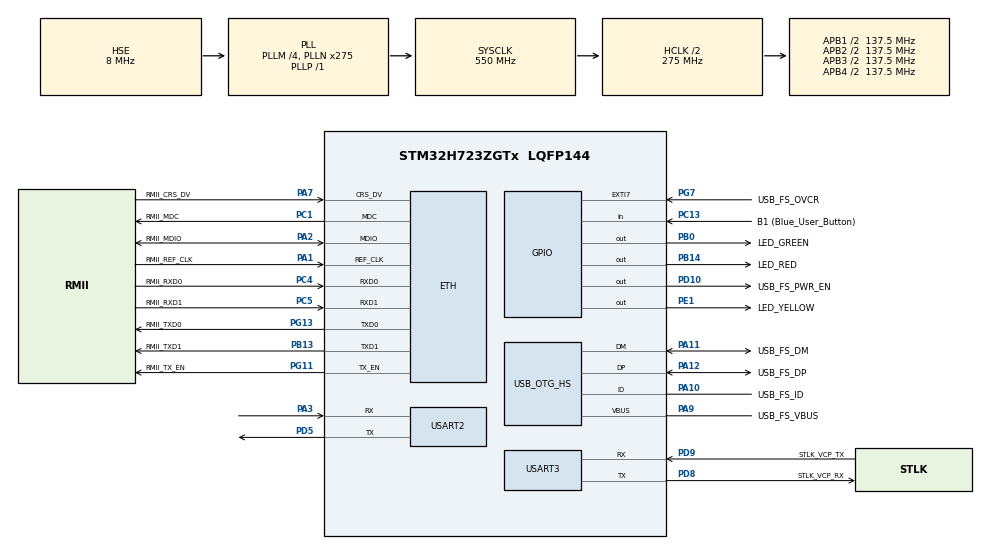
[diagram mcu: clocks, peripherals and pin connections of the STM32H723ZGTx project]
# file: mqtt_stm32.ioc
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ETH.MediaInterface=HAL_ETH_RMII_MODE
Mcu.Family=STM32H7
Mcu.Name=STM32H723ZGTx
Mcu.Package=LQFP144
NVIC.PriorityGroup=NVIC_PRIORITYGROUP_4
NVIC.USART2_IRQn=true\:0\:0\:false\:false\:true\:true\:true\:true
PA1.GPIO_Label=RMII_REF_CLK
PA1.Mode=RMII
PA1.Signal=ETH_REF_CLK
PA10.GPIO_Label=USB_FS_ID
PA10.Mode=OTG/Dual-Role-Device-FS
PA10.Signal=USB_OTG_HS_ID
PA11.GPIO_Label=USB_FS_DM
PA11.Mode=OTG/Dual-Role-Device-FS
PA11.Signal=USB_OTG_HS_DM
PA12.GPIO_Label=USB_FS_DP
PA12.Mode=OTG/Dual-Role-Device-FS
PA12.Signal=USB_OTG_HS_DP
PA13(JTMS/SWDIO).GPIO_Label=SWDIO
PA13(JTMS/SWDIO).Mode=Trace_Asynchronous_SW
PA13(JTMS/SWDIO).Signal=DEBUG_JTMS-SWDIO
PA14(JTCK/SWCLK).GPIO_Label=SWCLK
PA14(JTCK/SWCLK).Mode=Trace_Asynchronous_SW
PA14(JTCK/SWCLK).Signal=DEBUG_JTCK-SWCLK
PA2.GPIO_Label=RMII_MDIO
PA2.Mode=RMII
PA2.Signal=ETH_MDIO
PA3.Mode=Asynchronous
PA3.Signal=USART2_RX
PA7.GPIO_Label=RMII_CRS_DV
PA7.Mode=RMII
PA7.Signal=ETH_CRS_DV
PA9.GPIO_Label=USB_FS_VBUS
PA9.Mode=Activate_VBUS_FS
PA9.Signal=USB_OTG_HS_VBUS
PB0.GPIO_Label=LED_GREEN
PB0.Signal=GPIO_Output
PB13.GPIO_Label=RMII_TXD1
PB13.Mode=RMII
PB13.Signal=ETH_TXD1
PB14.GPIO_Label=LED_RED
PB14.Signal=GPIO_Output
PB3(JTDO/TRACESWO).GPIO_Label=SWO
PB3(JTDO/TRACESWO).Mode=Trace_Asynchronous_SW
PB3(JTDO/TRACESWO).Signal=DEBUG_JTDO-SWO
PB6.Signal=USART1_TX
PB7.Signal=USART1_RX
PC1.GPIO_Label=RMII_MDC
PC1.Mode=RMII
PC1.Signal=ETH_MDC
PC13.GPIO_Label=B1 (Blue_User_Button)
PC13.Signal=GPIO_Input
PC14-OSC32_IN.Mode=LSE-External-Oscillator
PC14-OSC32_IN.Signal=RCC_OSC32_IN
PC15-OSC32_OUT.Mode=LSE-External-Oscillator
PC15-OSC32_OUT.Signal=RCC_OSC32_OUT
PC4.GPIO_Label=RMII_RXD0
PC4.Mode=RMII
PC4.Signal=ETH_RXD0
PC5.GPIO_Label=RMII_RXD1
PC5.Mode=RMII
PC5.Signal=ETH_RXD1
PD10.GPIO_Label=USB_FS_PWR_EN
PD10.Signal=GPIO_Output
PD5.Mode=Asynchronous
PD5.Signal=USART2_TX
PD8.GPIO_Label=STLK_VCP_RX
PD8.Mode=Asynchronous
PD8.Signal=USART3_TX
PD9.GPIO_Label=STLK_VCP_TX
PD9.Mode=Asynchronous
PD9.Signal=USART3_RX
PE1.GPIO_Label=LED_YELLOW
PE1.Signal=GPIO_Output
PG11.GPIO_Label=RMII_TX_EN
PG11.Mode=RMII
PG11.Signal=ETH_TX_EN
PG13.GPIO_Label=RMII_TXD0
PG13.Mode=RMII
PG13.Signal=ETH_TXD0
PG7.GPIO_Label=USB_FS_OVCR
PG7.Signal=GPXTI7
PH0-OSC_IN.GPIO_Label=MCO
PH0-OSC_IN.Mode=HSE-External-Clock-Source
PH0-OSC_IN.Signal=RCC_OSC_IN
PH1-OSC_OUT.Signal=RCC_OSC_OUT
ProjectManager.HeapSize=0x200
ProjectManager.StackSize=0x400
ProjectManager.TargetToolchain=STM32CubeIDE
RCC.ADCFreq_Value=76000000
RCC.APB1Freq_Value=137500000
RCC.APB2Freq_Value=137500000
RCC.APB3Freq_Value=137500000
RCC.APB4Freq_Value=137500000
RCC.CortexFreq_Value=550000000
RCC.D1PPRE=RCC_APB3_DIV2
RCC.D2PPRE1=RCC_APB1_DIV2
RCC.D2PPRE2=RCC_APB2_DIV2
RCC.D3PPRE=RCC_APB4_DIV2
RCC.DIVM1=4
RCC.DIVM2=1
RCC.DIVN1=275
RCC.DIVN2=19
RCC.DIVP1=1
RCC.DIVQ1=4
RCC.HCLKFreq_Value=275000000
RCC.HPRE=RCC_HCLK_DIV2
RCC.HSE_VALUE=8000000
RCC.PLLFRACN=0
RCC.PLLSourceVirtual=RCC_PLLSOURCE_HSE
RCC.SYSCLKFreq_VALUE=550000000
RCC.SYSCLKSource=RCC_SYSCLKSOURCE_PLLCLK
RCC.USBCLockSelection=RCC_USBCLKSOURCE_HSI48
RCC.USBFreq_Value=48000000
USART2.VirtualMode-Asynchronous=VM_ASYNC
USART3.VirtualMode-Asynchronous=VM_ASYNC
board=NUCLEO-H723ZG

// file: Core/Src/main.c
/* USER CODE BEGIN Header */
/**
  ******************************************************************************
  * @file           : main.c
  * @brief          : Main program body
  ******************************************************************************
  * @attention
  *
  * Copyright (c) 2026 STMicroelectronics.
  * All rights reserved.
  *
  * This software is licensed under terms that can be found in the LICENSE file
  * in the root directory of this software component.
  * If no LICENSE file comes with this software, it is provided AS-IS.
  *
  ******************************************************************************
  */
/* USER CODE END Header */
#include "main.h"
#include "string.h"

#if defined ( __ICCARM__ ) /*!< IAR Compiler */
#pragma location=0x30000000
ETH_DMADescTypeDef  DMARxDscrTab[ETH_RX_DESC_CNT]; /* Ethernet Rx DMA Descriptors */
#pragma location=0x30000200
ETH_DMADescTypeDef  DMATxDscrTab[ETH_TX_DESC_CNT]; /* Ethernet Tx DMA Descriptors */
#pragma location=0x30000260
uint8_t Rx_Buff[ETH_RX_DESC_CNT][ETH_MAX_PACKET_SIZE]; /* Ethernet Receive Buffers */

#elif defined ( __CC_ARM )  /* MDK ARM Compiler */

__attribute__((at(0x30000000))) ETH_DMADescTypeDef  DMARxDscrTab[ETH_RX_DESC_CNT]; /* Ethernet Rx DMA Descriptors */
__attribute__((at(0x30000200))) ETH_DMADescTypeDef  DMATxDscrTab[ETH_TX_DESC_CNT]; /* Ethernet Tx DMA Descriptors */
__attribute__((at(0x30000260))) uint8_t Rx_Buff[ETH_RX_DESC_CNT][ETH_MAX_PACKET_SIZE]; /* Ethernet Receive Buffer */

#elif defined ( __GNUC__ ) /* GNU Compiler */
ETH_DMADescTypeDef DMARxDscrTab[ETH_RX_DESC_CNT] __attribute__((section(".RxDecripSection"))); /* Ethernet Rx DMA Descriptors */
ETH_DMADescTypeDef DMATxDscrTab[ETH_TX_DESC_CNT] __attribute__((section(".TxDecripSection")));   /* Ethernet Tx DMA Descriptors */
uint8_t Rx_Buff[ETH_RX_DESC_CNT][ETH_MAX_PACKET_SIZE] __attribute__((section(".RxArraySection"))); /* Ethernet Receive Buffers */
#endif

ETH_TxPacketConfig TxConfig;

ETH_HandleTypeDef heth;

UART_HandleTypeDef huart2;
UART_HandleTypeDef huart3;

/* USER CODE BEGIN PV */
uint8_t rx_byte;
uint8_t rx_buffer[1024];
uint16_t rx_index = 0;
/* USER CODE END PV */

void SystemClock_Config(void);
static void MX_GPIO_Init(void);
static void MX_ETH_Init(void);
static void MX_USART2_UART_Init(void);
static void MX_USART3_UART_Init(void);
static void MX_USB_OTG_HS_USB_Init(void);

/* USER CODE BEGIN 0 */
void ESP_Send(char *cmd)
{
    HAL_UART_Transmit(&huart2,
                      (uint8_t*)cmd,
                      strlen(cmd),
                      HAL_MAX_DELAY);
}

//void ESP_Print_Response(void)
//{
//    HAL_UART_Transmit(&huart3,
//                      rx_buffer,
//                      strlen((char*)rx_buffer),
//                      HAL_MAX_DELAY);
//}

void ESP_Print_Response(void)
{
    HAL_UART_Transmit(&huart3,
                      rx_buffer,
                      rx_index,
                      HAL_MAX_DELAY);
}

void Clear_Buffer(void)
{
    memset(rx_buffer, 0, sizeof(rx_buffer));
    rx_index = 0;
}
/* USER CODE END 0 */

int main(void)
{

  /* MCU Configuration--------------------------------------------------------*/

  /* Reset of all peripherals, Initializes the Flash interface and the Systick. */
  HAL_Init();

  /* Configure the system clock */
  SystemClock_Config();

  /* Initialize all configured peripherals */
  MX_GPIO_Init();
  MX_ETH_Init();
  MX_USART2_UART_Init();
  MX_USART3_UART_Init();
  MX_USB_OTG_HS_USB_Init();
  /* USER CODE BEGIN 2 */
  HAL_UART_Receive_IT(&huart2,
                      &rx_byte,
                      1);

  HAL_Delay(3000);

  Clear_Buffer();
  ESP_Send("ATE0\r\n");
  HAL_Delay(2000);
  ESP_Print_Response();

  Clear_Buffer();

  ESP_Send("AT\r\n");
  HAL_Delay(2000);
  ESP_Print_Response();

//  ESP_Send("AT+CWMODE=1\r\n");
//  HAL_Delay(2000);
//  ESP_Print_Response();
//
//  //ESP_Send("AT+CWJAP=\"YOUR_WIFI\",\"YOUR_PASSWORD\"\r\n");"moto g85 5G_4516", password = "Moto1234x"')
//  ESP_Send("AT+CWJAP=\"moto g85 5G_451\",\"Moto1234x\"\r\n");
//  HAL_Delay(10000);
//  ESP_Print_Response();
//
//  ESP_Send("AT+CIPSTART=\"TCP\",\"google.com\",80\r\n");
//  HAL_Delay(5000);
//  ESP_Print_Response();
//
//  ESP_Send("AT+CIPSEND=40\r\n");
//  HAL_Delay(2000);
//
//  ESP_Send("GET / HTTP/1.1\r\nHost: google.com\r\n\r\n");
//  HAL_Delay(5000);
//
//  ESP_Print_Response();

//  ESP_Send("AT+MQTTUSERCFG=0,1,\"stm32client\",\"\",\"\",0,0,\"\"\r\n");
//  HAL_Delay(3000);
//  ESP_Print_Response();

//  ESP_Send("AT+MQTTCONN=0,\"broker.hivemq.com\",1883,0\r\n");
//  HAL_Delay(5000);
//  ESP_Print_Response();
//
////  ESP_Send("AT+MQTTSUB=0,\"test/topic\",0\r\n");
////  HAL_Delay(3000);
////  ESP_Print_Response();
//
//  ESP_Send("AT+MQTTPUB=0,\"test/topic\",\"Hello_From_STM32\",0,0\r\n");
//  HAL_Delay(3000);
//  ESP_Print_Response();

  Clear_Buffer();
  ESP_Send("AT+TCPSTART=google.com,80\r\n");
  HAL_Delay(5000);
  ESP_Print_Response();

  Clear_Buffer();
  ESP_Send("AT+TCPSEND=GET / HTTP/1.1\r\nHost: google.com\r\n\r\n");
  HAL_Delay(3000);
  ESP_Print_Response();

  Clear_Buffer();
  ESP_Send("AT+TCPREAD\r\n");
  HAL_Delay(5000);
  ESP_Print_Response();

  Clear_Buffer();
  ESP_Send("AT+MQTTCONNECT\r\n");
  HAL_Delay(5000);
  ESP_Print_Response();

  Clear_Buffer();
  ESP_Send("AT+MQTTPUB=Hello_From_STM32\r\n");
  HAL_Delay(3000);
  ESP_Print_Response();

  /* USER CODE END 2 */

  /* Infinite loop */
  while (1)
  {

  }
}

void SystemClock_Config(void)
{
  RCC_OscInitTypeDef RCC_OscInitStruct = {0};
  RCC_ClkInitTypeDef RCC_ClkInitStruct = {0};

  /** Supply configuration update enable
  */
  HAL_PWREx_ConfigSupply(PWR_LDO_SUPPLY);

  /** Configure the main internal regulator output voltage
  */
  __HAL_PWR_VOLTAGESCALING_CONFIG(PWR_REGULATOR_VOLTAGE_SCALE0);

  while(!__HAL_PWR_GET_FLAG(PWR_FLAG_VOSRDY)) {}

  /** Initializes the RCC Oscillators according to the specified parameters
  * in the RCC_OscInitTypeDef structure.
  */
  RCC_OscInitStruct.OscillatorType = RCC_OSCILLATORTYPE_HSI48|RCC_OSCILLATORTYPE_HSE;
  RCC_OscInitStruct.HSEState = RCC_HSE_BYPASS;
  RCC_OscInitStruct.HSI48State = RCC_HSI48_ON;
  RCC_OscInitStruct.PLL.PLLState = RCC_PLL_ON;
  RCC_OscInitStruct.PLL.PLLSource = RCC_PLLSOURCE_HSE;
  RCC_OscInitStruct.PLL.PLLM = 4;
  RCC_OscInitStruct.PLL.PLLN = 275;
  RCC_OscInitStruct.PLL.PLLP = 1;
  RCC_OscInitStruct.PLL.PLLQ = 4;
  RCC_OscInitStruct.PLL.PLLR = 2;
  RCC_OscInitStruct.PLL.PLLRGE = RCC_PLL1VCIRANGE_1;
  RCC_OscInitStruct.PLL.PLLVCOSEL = RCC_PLL1VCOWIDE;
  RCC_OscInitStruct.PLL.PLLFRACN = 0;
  if (HAL_RCC_OscConfig(&RCC_OscInitStruct) != HAL_OK)
  {
    Error_Handler();
  }

  /** Initializes the CPU, AHB and APB buses clocks
  */
  RCC_ClkInitStruct.ClockType = RCC_CLOCKTYPE_HCLK|RCC_CLOCKTYPE_SYSCLK
                              |RCC_CLOCKTYPE_PCLK1|RCC_CLOCKTYPE_PCLK2
                              |RCC_CLOCKTYPE_D3PCLK1|RCC_CLOCKTYPE_D1PCLK1;
  RCC_ClkInitStruct.SYSCLKSource = RCC_SYSCLKSOURCE_PLLCLK;
  RCC_ClkInitStruct.SYSCLKDivider = RCC_SYSCLK_DIV1;
  RCC_ClkInitStruct.AHBCLKDivider = RCC_HCLK_DIV2;
  RCC_ClkInitStruct.APB3CLKDivider = RCC_APB3_DIV2;
  RCC_ClkInitStruct.APB1CLKDivider = RCC_APB1_DIV2;
  RCC_ClkInitStruct.APB2CLKDivider = RCC_APB2_DIV2;
  RCC_ClkInitStruct.APB4CLKDivider = RCC_APB4_DIV2;

  if (HAL_RCC_ClockConfig(&RCC_ClkInitStruct, FLASH_LATENCY_3) != HAL_OK)
  {
    Error_Handler();
  }
}

static void MX_ETH_Init(void)
{

   static uint8_t MACAddr[6];

  heth.Instance = ETH;
  MACAddr[0] = 0x00;
  MACAddr[1] = 0x80;
  MACAddr[2] = 0xE1;
  MACAddr[3] = 0x00;
  MACAddr[4] = 0x00;
  MACAddr[5] = 0x00;
  heth.Init.MACAddr = &MACAddr[0];
  heth.Init.MediaInterface = HAL_ETH_RMII_MODE;
  heth.Init.TxDesc = DMATxDscrTab;
  heth.Init.RxDesc = DMARxDscrTab;
  heth.Init.RxBuffLen = 1524;

  if (HAL_ETH_Init(&heth) != HAL_OK)
  {
    Error_Handler();
  }

  memset(&TxConfig, 0 , sizeof(ETH_TxPacketConfig));
  TxConfig.Attributes = ETH_TX_PACKETS_FEATURES_CSUM | ETH_TX_PACKETS_FEATURES_CRCPAD;
  TxConfig.ChecksumCtrl = ETH_CHECKSUM_IPHDR_PAYLOAD_INSERT_PHDR_CALC;
  TxConfig.CRCPadCtrl = ETH_CRC_PAD_INSERT;

}

static void MX_USART2_UART_Init(void)
{

  huart2.Instance = USART2;
  huart2.Init.BaudRate = 115200;
  huart2.Init.WordLength = UART_WORDLENGTH_8B;
  huart2.Init.StopBits = UART_STOPBITS_1;
  huart2.Init.Parity = UART_PARITY_NONE;
  huart2.Init.Mode = UART_MODE_TX_RX;
  huart2.Init.HwFlowCtl = UART_HWCONTROL_NONE;
  huart2.Init.OverSampling = UART_OVERSAMPLING_16;
  huart2.Init.OneBitSampling = UART_ONE_BIT_SAMPLE_DISABLE;
  huart2.Init.ClockPrescaler = UART_PRESCALER_DIV1;
  huart2.AdvancedInit.AdvFeatureInit = UART_ADVFEATURE_NO_INIT;
  if (HAL_UART_Init(&huart2) != HAL_OK)
  {
    Error_Handler();
  }
  if (HAL_UARTEx_SetTxFifoThreshold(&huart2, UART_TXFIFO_THRESHOLD_1_8) != HAL_OK)
  {
    Error_Handler();
  }
  if (HAL_UARTEx_SetRxFifoThreshold(&huart2, UART_RXFIFO_THRESHOLD_1_8) != HAL_OK)
  {
    Error_Handler();
  }
  if (HAL_UARTEx_DisableFifoMode(&huart2) != HAL_OK)
  {
    Error_Handler();
  }

}

static void MX_USART3_UART_Init(void)
{

  huart3.Instance = USART3;
  huart3.Init.BaudRate = 115200;
  huart3.Init.WordLength = UART_WORDLENGTH_8B;
  huart3.Init.StopBits = UART_STOPBITS_1;
  huart3.Init.Parity = UART_PARITY_NONE;
  huart3.Init.Mode = UART_MODE_TX_RX;
  huart3.Init.HwFlowCtl = UART_HWCONTROL_NONE;
  huart3.Init.OverSampling = UART_OVERSAMPLING_16;
  huart3.Init.OneBitSampling = UART_ONE_BIT_SAMPLE_DISABLE;
  huart3.Init.ClockPrescaler = UART_PRESCALER_DIV1;
  huart3.AdvancedInit.AdvFeatureInit = UART_ADVFEATURE_NO_INIT;
  if (HAL_UART_Init(&huart3) != HAL_OK)
  {
    Error_Handler();
  }
  if (HAL_UARTEx_SetTxFifoThreshold(&huart3, UART_TXFIFO_THRESHOLD_1_8) != HAL_OK)
  {
    Error_Handler();
  }
  if (HAL_UARTEx_SetRxFifoThreshold(&huart3, UART_RXFIFO_THRESHOLD_1_8) != HAL_OK)
  {
    Error_Handler();
  }
  if (HAL_UARTEx_DisableFifoMode(&huart3) != HAL_OK)
  {
    Error_Handler();
  }

}

static void MX_USB_OTG_HS_USB_Init(void)
{

}

static void MX_GPIO_Init(void)
{
  GPIO_InitTypeDef GPIO_InitStruct = {0};

  /* GPIO Ports Clock Enable */
  __HAL_RCC_GPIOC_CLK_ENABLE();
  __HAL_RCC_GPIOH_CLK_ENABLE();
  __HAL_RCC_GPIOA_CLK_ENABLE();
  __HAL_RCC_GPIOB_CLK_ENABLE();
  __HAL_RCC_GPIOD_CLK_ENABLE();
  __HAL_RCC_GPIOG_CLK_ENABLE();
  __HAL_RCC_GPIOE_CLK_ENABLE();

  /*Configure GPIO pin Output Level */
  HAL_GPIO_WritePin(GPIOB, LED_GREEN_Pin|LED_RED_Pin, GPIO_PIN_RESET);

  /*Configure GPIO pin Output Level */
  HAL_GPIO_WritePin(USB_FS_PWR_EN_GPIO_Port, USB_FS_PWR_EN_Pin, GPIO_PIN_RESET);

  /*Configure GPIO pin Output Level */
  HAL_GPIO_WritePin(LED_YELLOW_GPIO_Port, LED_YELLOW_Pin, GPIO_PIN_RESET);

  /*Configure GPIO pin : B1_Pin */
  GPIO_InitStruct.Pin = B1_Pin;
  GPIO_InitStruct.Mode = GPIO_MODE_INPUT;
  GPIO_InitStruct.Pull = GPIO_NOPULL;
  HAL_GPIO_Init(B1_GPIO_Port, &GPIO_InitStruct);

  /*Configure GPIO pins : LED_GREEN_Pin LED_RED_Pin */
  GPIO_InitStruct.Pin = LED_GREEN_Pin|LED_RED_Pin;
  GPIO_InitStruct.Mode = GPIO_MODE_OUTPUT_PP;
  GPIO_InitStruct.Pull = GPIO_NOPULL;
  GPIO_InitStruct.Speed = GPIO_SPEED_FREQ_LOW;
  HAL_GPIO_Init(GPIOB, &GPIO_InitStruct);

  /*Configure GPIO pin : USB_FS_PWR_EN_Pin */
  GPIO_InitStruct.Pin = USB_FS_PWR_EN_Pin;
  GPIO_InitStruct.Mode = GPIO_MODE_OUTPUT_PP;
  GPIO_InitStruct.Pull = GPIO_NOPULL;
  GPIO_InitStruct.Speed = GPIO_SPEED_FREQ_LOW;
  HAL_GPIO_Init(USB_FS_PWR_EN_GPIO_Port, &GPIO_InitStruct);

  /*Configure GPIO pin : USB_FS_OVCR_Pin */
  GPIO_InitStruct.Pin = USB_FS_OVCR_Pin;
  GPIO_InitStruct.Mode = GPIO_MODE_IT_RISING;
  GPIO_InitStruct.Pull = GPIO_NOPULL;
  HAL_GPIO_Init(USB_FS_OVCR_GPIO_Port, &GPIO_InitStruct);

  /*Configure GPIO pin : USB_FS_VBUS_Pin */
  GPIO_InitStruct.Pin = USB_FS_VBUS_Pin;
  GPIO_InitStruct.Mode = GPIO_MODE_INPUT;
  GPIO_InitStruct.Pull = GPIO_NOPULL;
  HAL_GPIO_Init(USB_FS_VBUS_GPIO_Port, &GPIO_InitStruct);

  /*Configure GPIO pin : USB_FS_ID_Pin */
  GPIO_InitStruct.Pin = USB_FS_ID_Pin;
  GPIO_InitStruct.Mode = GPIO_MODE_AF_PP;
  GPIO_InitStruct.Pull = GPIO_NOPULL;
  GPIO_InitStruct.Speed = GPIO_SPEED_FREQ_LOW;
  GPIO_InitStruct.Alternate = GPIO_AF10_OTG1_HS;
  HAL_GPIO_Init(USB_FS_ID_GPIO_Port, &GPIO_InitStruct);

  /*Configure GPIO pins : PB6 PB7 */
  GPIO_InitStruct.Pin = GPIO_PIN_6|GPIO_PIN_7;
  GPIO_InitStruct.Mode = GPIO_MODE_AF_PP;
  GPIO_InitStruct.Pull = GPIO_NOPULL;
  GPIO_InitStruct.Speed = GPIO_SPEED_FREQ_LOW;
  GPIO_InitStruct.Alternate = GPIO_AF7_USART1;
  HAL_GPIO_Init(GPIOB, &GPIO_InitStruct);

  /*Configure GPIO pin : LED_YELLOW_Pin */
  GPIO_InitStruct.Pin = LED_YELLOW_Pin;
  GPIO_InitStruct.Mode = GPIO_MODE_OUTPUT_PP;
  GPIO_InitStruct.Pull = GPIO_NOPULL;
  GPIO_InitStruct.Speed = GPIO_SPEED_FREQ_LOW;
  HAL_GPIO_Init(LED_YELLOW_GPIO_Port, &GPIO_InitStruct);

}

/* USER CODE BEGIN 4 */
void HAL_UART_RxCpltCallback(UART_HandleTypeDef *huart)
{
    if(huart->Instance == USART2)
    {
        if(rx_index < sizeof(rx_buffer)-1)
        {
            rx_buffer[rx_index++] = rx_byte;
            rx_buffer[rx_index] = '\0';
        }

        HAL_UART_Receive_IT(&huart2,
                            &rx_byte,
                            1);
    }
}
/* USER CODE END 4 */

void Error_Handler(void)
{
  __disable_irq();
  while (1)
  {
  }
}
